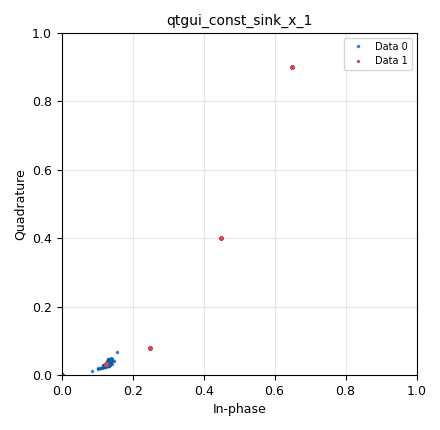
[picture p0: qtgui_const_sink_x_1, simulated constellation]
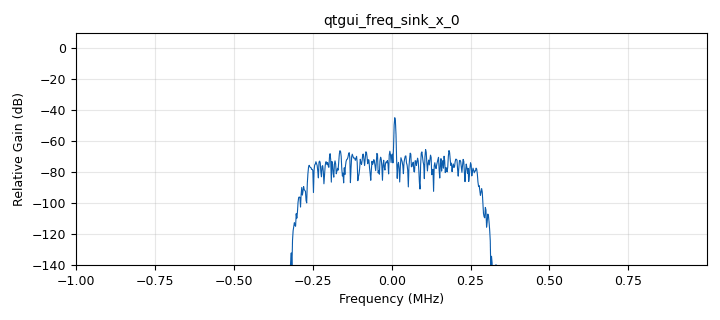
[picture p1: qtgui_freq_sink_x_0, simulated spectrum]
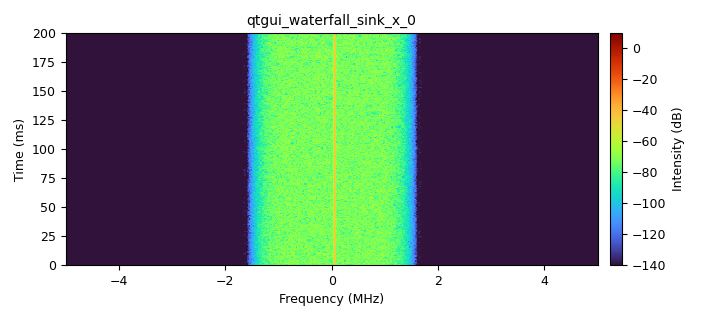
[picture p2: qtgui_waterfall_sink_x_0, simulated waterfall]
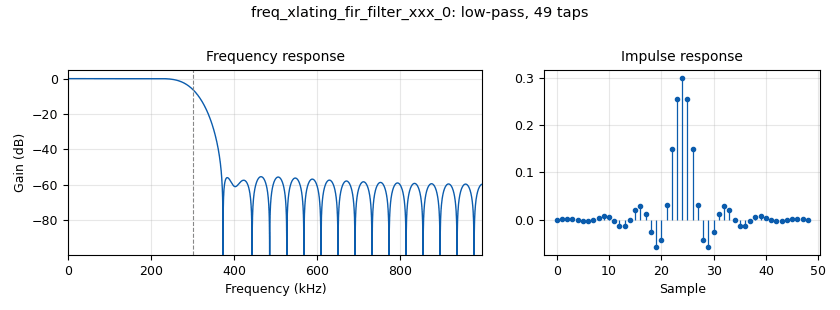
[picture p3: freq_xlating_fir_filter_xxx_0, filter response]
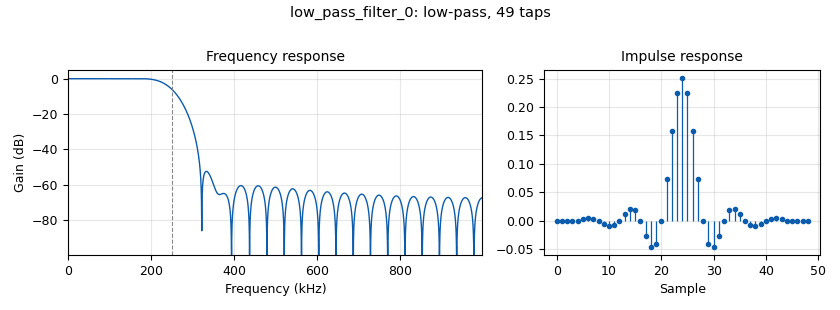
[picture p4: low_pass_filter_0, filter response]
options:
  parameters:
    generate_options: qt_gui
    id: drone_signal_simulation_v1
    output_language: python
    title: Not titled yet
  states: {}

blocks:
- name: SNR_dB
  id: variable
  parameters:
    value: '10'
  states: {}
- name: samp_rate
  id: variable
  parameters:
    value: 2e6
  states: {}
- name: GMSKDETECTOR
  id: qtgui_number_sink
  parameters:
    graph_type: qtgui.NUM_GRAPH_NONE
    name: '"SCORE"'
    type: float
  states: {}
- name: GMSKDETECTOR_0
  id: qtgui_number_sink
  parameters:
    graph_type: qtgui.NUM_GRAPH_NONE
    name: '"LABEL"'
    type: float
  states: {}
- name: analog_noise_source_x_0
  id: analog_noise_source_x
  parameters:
    amp: '1e-7'
    noise_type: analog.GR_GAUSSIAN
    seed: '0'
    type: complex
  states: {state: disabled}
- name: analog_noise_source_x_1
  id: analog_noise_source_x
  parameters:
    amp: '1'
    noise_type: analog.GR_GAUSSIAN
    seed: '0'
    type: complex
  states: {state: disabled}
- name: analog_noise_source_x_1_0
  id: analog_noise_source_x
  parameters:
    amp: '1'
    noise_type: analog.GR_GAUSSIAN
    seed: '0'
    type: complex
  states: {}
- name: analog_random_source_x_0
  id: analog_random_source_x
  parameters:
    max: '4'
    min: '0'
    num_samps: '1000'
    repeat: 'True'
    type: byte
  states: {state: disabled}
- name: analog_sig_source_x_0
  id: analog_sig_source_x
  parameters:
    amp: '1'
    freq: '100'
    offset: '0'
    phase: '0'
    samp_rate: samp_rate
    type: complex
    waveform: analog.GR_COS_WAVE
  states: {}
- name: analog_sig_source_x_0_0
  id: analog_sig_source_x
  parameters:
    amp: '1'
    freq: '10000'
    offset: '0'
    phase: '0'
    samp_rate: samp_rate
    type: complex
    waveform: analog.GR_COS_WAVE
  states: {}
- name: average_emitted_power
  id: qtgui_number_sink
  parameters:
    graph_type: qtgui.NUM_GRAPH_NONE
    name: '"average_emitted_power_amplitude"'
    type: float
  states: {}
- name: blocks_add_xx_0
  id: blocks_add_xx
  parameters:
    type: complex
  states: {state: disabled}
- name: blocks_add_xx_1
  id: blocks_add_xx
  parameters:
    type: complex
  states: {}
- name: blocks_char_to_float_0
  id: blocks_char_to_float
  parameters:
    scale: '1'
  states: {state: disabled}
- name: blocks_complex_to_mag_squared_0
  id: blocks_complex_to_mag_squared
  parameters: {}
  states: {}
- name: blocks_moving_average_xx_0
  id: blocks_moving_average_xx
  parameters:
    length: '1000'
    max_iter: '4000'
    scale: '1'
    type: float
  states: {}
- name: blocks_multiply_const_vxx_0
  id: blocks_multiply_const_vxx
  parameters:
    const: '0.016'
    type: complex
  states: {}
- name: blocks_multiply_const_vxx_1
  id: blocks_multiply_const_vxx
  parameters:
    const: '0.0001'
    type: complex
  states: {state: disabled}
- name: blocks_multiply_xx_0
  id: blocks_multiply_xx
  parameters:
    type: complex
  states: {}
- name: blocks_throttle2_0
  id: blocks_throttle2
  parameters:
    samples_per_second: 32e3
    type: complex
  states: {state: disabled}
- name: blocks_unpacked_to_packed_xx_0
  id: blocks_unpacked_to_packed_xx
  parameters:
    bits_per_chunk: '1'
    endianness: gr.GR_MSB_FIRST
    type: byte
  states: {state: disabled}
- name: blocks_unpacked_to_packed_xx_1
  id: blocks_unpacked_to_packed_xx
  parameters:
    bits_per_chunk: '8'
    endianness: gr.GR_MSB_FIRST
    type: byte
  states: {state: disabled}
- name: blocks_vector_source_x_0
  id: blocks_vector_source_x
  parameters:
    repeat: 'True'
    type: byte
    vector: (1, 0, 1, 0)
  states: {state: disabled}
- name: digital_gfsk_mod_0
  id: digital_gfsk_mod
  parameters:
    bt: '10'
    samples_per_symbol: '4'
    sensitivity: '1.0'
  states: {state: disabled}
- name: digital_gmsk_demod_0
  id: digital_gmsk_demod
  parameters:
    freq_error: '0.0'
    gain_mu: '0.175'
    mu: '0.5'
    omega_relative_limit: '0.005'
    samples_per_symbol: '4'
  states: {state: disabled}
- name: digital_gmsk_mod_0
  id: digital_gmsk_mod
  parameters:
    bt: '0.35'
    samples_per_symbol: '4'
  states: {state: disabled}
- name: epy_block_1
  id: epy_block
  parameters:
    K: '4'
    _source_code: |
      import numpy as np
      from gnuradio import gr


      class blk(gr.sync_block):

          def __init__(self,
                       window_size=500,
                       scatter_size=1024,
                       K=4,
                       alpha=0.05):

              gr.sync_block.__init__(
                  self,
                  name="KMeans + Classifier",
                  in_sig=[np.complex64],
                  out_sig=[np.complex64, np.complex64, np.float32, np.float32]
              )

              self.window_size = window_size
              self.scatter_size = scatter_size
              self.K = K
              self.alpha = alpha

              # -------------------------
              # BUFFER IQ
              # -------------------------
              self.buf = np.zeros(window_size, dtype=np.complex64)
              self.idx = 0

              # -------------------------
              # SCATTER
              # -------------------------
              self.scatter_buffer = np.zeros(scatter_size, dtype=np.complex64)
              self.scatter_idx = 0
              self.read_idx = 0

              # -------------------------
              # KMEANS CENTERS (visuel)
              # -------------------------
              self.centers = np.array([
                  [0.05, 0.01],
                  [0.25, 0.08],
                  [0.45, 0.40],
                  [0.65, 0.90]
              ])

              self.center_idx = 0

              # -------------------------
              # SIGNATURES PHYSIQUES (classifier)
              # -------------------------
              self.signatures = {
                  "AM":    {"mu": np.array([0.03, 0.00]), "sigma": np.array([0.05, 0.03])},
                  "GMSK":  {"mu": np.array([0.25, 0.08]), "sigma": np.array([0.08, 0.05])},
                  "FSK":   {"mu": np.array([0.63, 0.90]), "sigma": np.array([0.15, 0.20])},
                  "NOISE": {"mu": np.array([0.45, 0.40]), "sigma": np.array([0.15, 0.15])}
              }

              self.label_map = {
                  "NOISE": 0.0,
                  "AM": 1.0,
                  "GMSK": 2.0,
                  "FSK": 3.0
              }

              self.last_label = 0.0
              self.last_score = 0.0

          # -------------------------
          # DISTANCE NORMALISÉE
          # -------------------------
          def mahalanobis(self, x, mu, sigma):
              return np.sqrt(np.sum(((x - mu) / (sigma + 1e-6))**2))

          def work(self, input_items, output_items):

              x = input_items[0]

              y_points = output_items[0]
              y_centers = output_items[1]
              y_label = output_items[2]
              y_score = output_items[3]

              for i in range(len(x)):

                  # -------------------------
                  # BUFFER IQ
                  # -------------------------
                  self.buf[self.idx] = x[i]
                  self.idx += 1

                  if self.idx >= self.window_size:
                      self.idx = 0

                      # -------------------------
                      # NORMALISATION
                      # -------------------------
                      power = np.mean(np.abs(self.buf)**2)
                      buf_norm = self.buf / np.sqrt(power + 1e-12)

                      # -------------------------
                      # FEATURES
                      # -------------------------
                      phase = np.unwrap(np.angle(buf_norm))
                      dphase = np.diff(phase)

                      mean_dphi = np.mean(np.abs(dphase))
                      var_dphi = np.var(dphase)

                      point = np.array([mean_dphi, var_dphi])
                      complex_point = complex(mean_dphi, var_dphi)

                      # -------------------------
                      # KMEANS (VISU)
                      # -------------------------
                      dists = np.linalg.norm(self.centers - point, axis=1)
                      k = np.argmin(dists)

                      self.centers[k] += self.alpha * (point - self.centers[k])

                      # -------------------------
                      # CLASSIFICATION (ROBUSTE)
                      # -------------------------
                      best_label = "NOISE"
                      best_dist = 1e9

                      for name, sig in self.signatures.items():
                          d = self.mahalanobis(point, sig["mu"], sig["sigma"])

                          if d < best_dist:
                              best_dist = d
                              best_label = name

                      score = np.exp(-best_dist)

                      self.last_label = self.label_map[best_label]
                      self.last_score = score

                      # -------------------------
                      # SCATTER BUFFER
                      # -------------------------
                      self.scatter_buffer[self.scatter_idx] = complex_point
                      self.scatter_idx = (self.scatter_idx + 1) % self.scatter_size

                      print(f"{best_label} | score={score:.2f} | dphi={mean_dphi:.3f} var={var_dphi:.3f}")

                  # -------------------------
                  # SORTIES
                  # -------------------------
                  y_points[i] = self.scatter_buffer[self.read_idx]
                  self.read_idx = (self.read_idx + 1) % self.scatter_size

                  c = self.centers[self.center_idx]
                  y_centers[i] = complex(c[0], c[1])
                  self.center_idx = (self.center_idx + 1) % self.K

                  y_label[i] = self.last_label
                  y_score[i] = self.last_score

              return len(y_points)
    alpha: '0.01'
    scatter_size: '2048'
    window_size: '500'
  states: {}
- name: freq_xlating_fir_filter_xxx_0
  id: freq_xlating_fir_filter_xxx
  parameters:
    center_freq: '0'
    decim: '1'
    samp_rate: samp_rate
    taps: firdes.low_pass(1,2e6,300e3,100e3)
    type: ccc
  states: {}
- name: low_pass_filter_0
  id: low_pass_filter
  parameters:
    cutoff_freq: 250e3
    decim: '1'
    gain: '1'
    samp_rate: samp_rate
    type: fir_filter_ccf
    width: 100e3
    win: window.WIN_HAMMING
  states: {}
- name: low_pass_filter_1
  id: low_pass_filter
  parameters:
    cutoff_freq: 300e3
    decim: '1'
    gain: '1'
    samp_rate: samp_rate
    type: fir_filter_ccf
    width: 100e3
    win: window.WIN_HAMMING
  states: {state: disabled}
- name: qtgui_const_sink_x_0
  id: qtgui_const_sink_x
  parameters:
    size: '1024'
    type: complex
  states: {state: disabled}
- name: qtgui_const_sink_x_1
  id: qtgui_const_sink_x
  parameters:
    nconnections: '2'
    size: '1024'
    type: complex
    xmax: '1'
    xmin: '0'
    ymax: '1'
    ymin: '0'
  states: {}
- name: qtgui_eye_sink_x_0
  id: qtgui_eye_sink_x
  parameters:
    samp_per_symbol: '4'
    size: '1024'
    srate: samp_rate
    type: complex
  states: {state: disabled}
- name: qtgui_freq_sink_x_0
  id: qtgui_freq_sink_x
  parameters:
    bw: samp_rate
    fc: '0'
    fftsize: '1024'
    type: complex
  states: {}
- name: qtgui_freq_sink_x_0_0
  id: qtgui_freq_sink_x
  parameters:
    bw: samp_rate
    fc: '0'
    fftsize: '1024'
    type: complex
  states: {state: disabled}
- name: qtgui_time_sink_x_0
  id: qtgui_time_sink_x
  parameters:
    size: '1024'
    srate: samp_rate
    type: float
  states: {state: disabled}
- name: qtgui_waterfall_sink_x_0
  id: qtgui_waterfall_sink_x
  parameters:
    bw: 10e6
    fc: '0'
    fftsize: '1024'
    type: complex
  states: {}

connections:
- [analog_noise_source_x_0, '0', blocks_add_xx_0, '1']
- [analog_noise_source_x_1, '0', blocks_throttle2_0, '0']
- [analog_noise_source_x_1_0, '0', blocks_add_xx_1, '0']
- [analog_random_source_x_0, '0', blocks_unpacked_to_packed_xx_0, '0']
- [analog_sig_source_x_0, '0', blocks_multiply_xx_0, '0']
- [analog_sig_source_x_0_0, '0', blocks_multiply_xx_0, '1']
- [blocks_add_xx_0, '0', qtgui_freq_sink_x_0_0, '0']
- [blocks_add_xx_1, '0', low_pass_filter_0, '0']
- [blocks_char_to_float_0, '0', qtgui_time_sink_x_0, '0']
- [blocks_complex_to_mag_squared_0, '0', blocks_moving_average_xx_0, '0']
- [blocks_moving_average_xx_0, '0', average_emitted_power, '0']
- [blocks_multiply_const_vxx_0, '0', blocks_complex_to_mag_squared_0, '0']
- [blocks_multiply_const_vxx_0, '0', blocks_multiply_const_vxx_1, '0']
- [blocks_multiply_const_vxx_0, '0', digital_gmsk_demod_0, '0']
- [blocks_multiply_const_vxx_0, '0', epy_block_1, '0']
- [blocks_multiply_const_vxx_0, '0', low_pass_filter_1, '0']
- [blocks_multiply_const_vxx_0, '0', qtgui_eye_sink_x_0, '0']
- [blocks_multiply_const_vxx_0, '0', qtgui_freq_sink_x_0, '0']
- [blocks_multiply_const_vxx_0, '0', qtgui_waterfall_sink_x_0, '0']
- [blocks_multiply_const_vxx_1, '0', blocks_add_xx_0, '0']
- [blocks_multiply_xx_0, '0', blocks_add_xx_1, '1']
- [blocks_multiply_xx_0, '0', blocks_throttle2_0, '0']
- [blocks_throttle2_0, '0', low_pass_filter_0, '0']
- [blocks_unpacked_to_packed_xx_0, '0', digital_gfsk_mod_0, '0']
- [blocks_unpacked_to_packed_xx_0, '0', digital_gmsk_mod_0, '0']
- [blocks_unpacked_to_packed_xx_1, '0', blocks_char_to_float_0, '0']
- [blocks_vector_source_x_0, '0', blocks_unpacked_to_packed_xx_0, '0']
- [digital_gfsk_mod_0, '0', blocks_throttle2_0, '0']
- [digital_gmsk_demod_0, '0', blocks_unpacked_to_packed_xx_1, '0']
- [digital_gmsk_mod_0, '0', blocks_add_xx_1, '1']
- [digital_gmsk_mod_0, '0', blocks_throttle2_0, '0']
- [digital_gmsk_mod_0, '0', qtgui_const_sink_x_0, '0']
- [epy_block_1, '0', qtgui_const_sink_x_1, '0']
- [epy_block_1, '1', qtgui_const_sink_x_1, '1']
- [epy_block_1, '2', GMSKDETECTOR_0, '0']
- [epy_block_1, '3', GMSKDETECTOR, '0']
- [freq_xlating_fir_filter_xxx_0, '0', blocks_multiply_const_vxx_0, '0']
- [low_pass_filter_0, '0', freq_xlating_fir_filter_xxx_0, '0']
- [low_pass_filter_1, '0', epy_block_1, '0']

metadata:
  file_format: 1
  grc_version: 3.10.11.0
